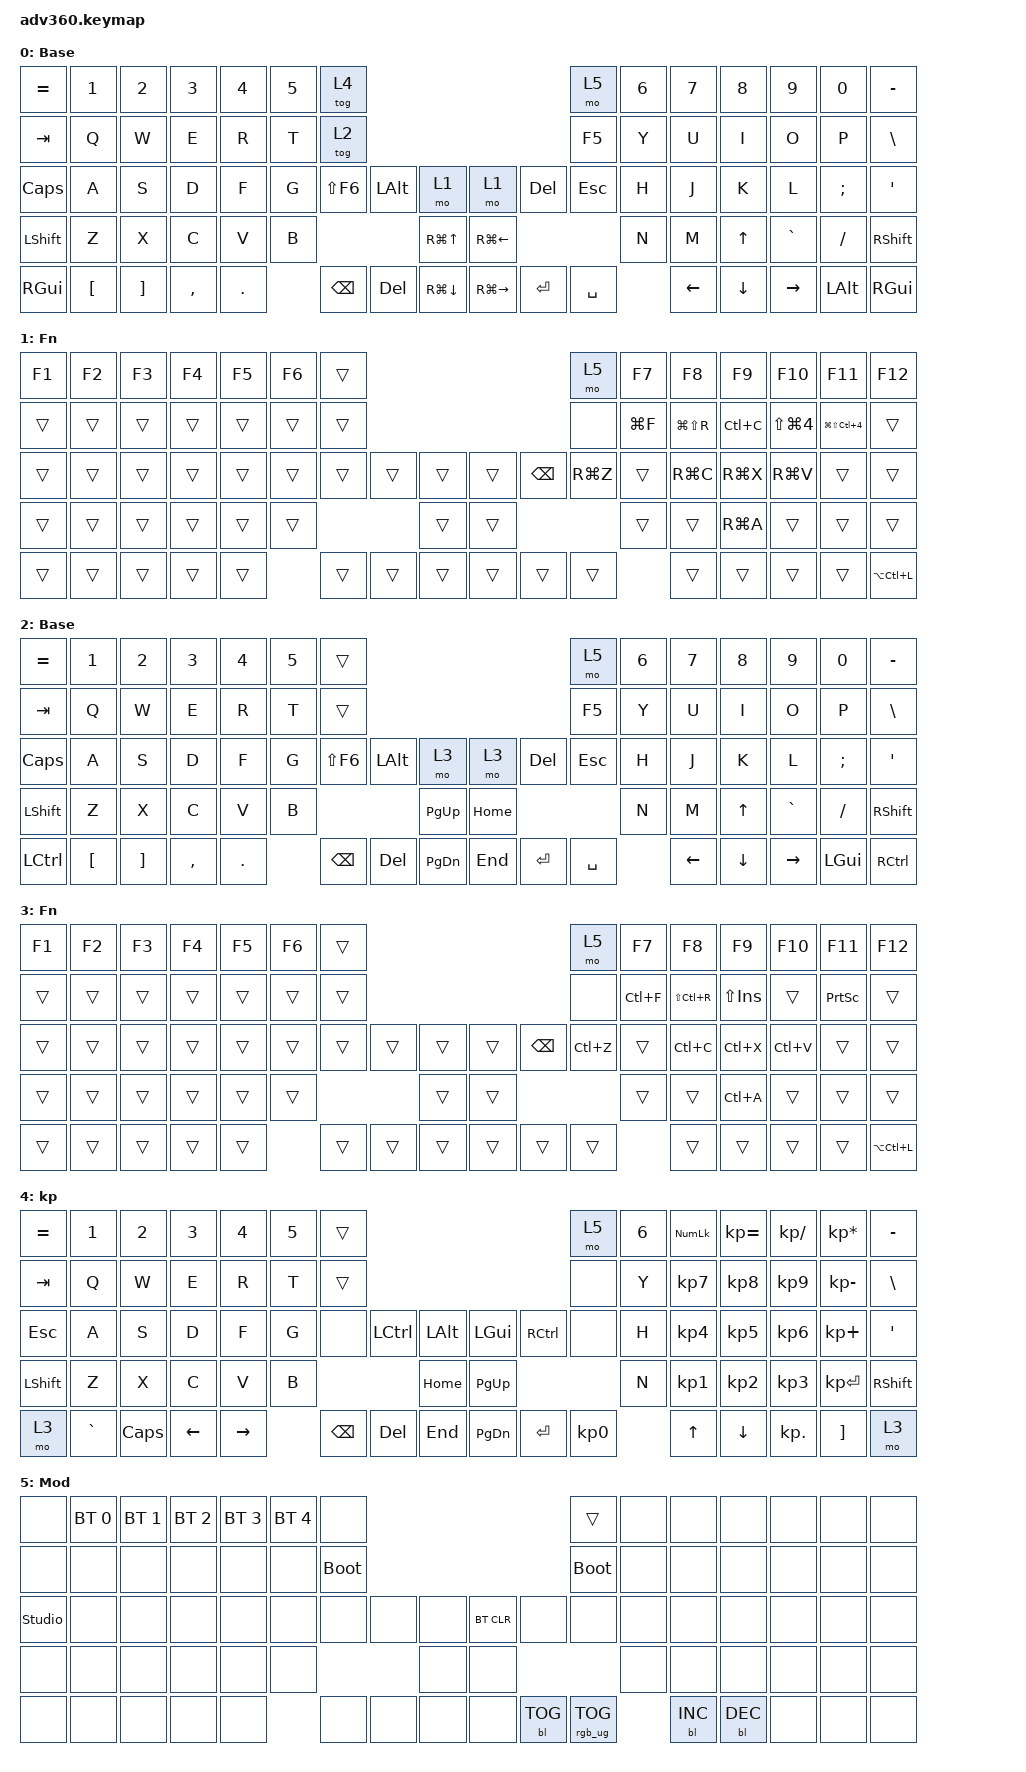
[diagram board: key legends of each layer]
#include <dt-bindings/zmk/stp.h>
#include <behaviors.dtsi>
#include <dt-bindings/zmk/backlight.h>
#include <dt-bindings/zmk/bt.h>
#include <dt-bindings/zmk/keys.h>
#include <dt-bindings/zmk/rgb.h>

/ {
    behaviors {
        #include "macros.dtsi"
      #include "version.dtsi"
    };

    keymap {
        compatible = "zmk,keymap";

        ios_layer {
            display-name = "Base";
            bindings = <
&kp EQUAL  &kp N1            &kp N2             &kp N3     &kp N4   &kp N5  &tog 4                                                                            &mo 5       &kp N6  &kp N7          &kp N8        &kp N9           &kp N0        &kp MINUS
&kp TAB    &kp Q             &kp W              &kp E      &kp R    &kp T   &tog 2                                                                            &kp F5      &kp Y   &kp U           &kp I         &kp O            &kp P         &kp BSLH
&kp CAPS   &kp A             &kp S              &kp D      &kp F    &kp G   &kp LS(F6)  &kp LEFT_ALT  &mo 1                   &mo 1                &kp DEL    &kp ESCAPE  &kp H   &kp J           &kp K         &kp L            &kp SEMI      &kp SQT
&kp LSHFT  &kp Z             &kp X              &kp C      &kp V    &kp B                             &kp RG(UP_ARROW)        &kp RG(LEFT_ARROW)                          &kp N   &kp M           &kp UP_ARROW  &kp GRAVE        &kp FSLH      &kp RSHFT
&kp RGUI   &kp LEFT_BRACKET  &kp RIGHT_BRACKET  &kp COMMA  &kp DOT          &kp BSPC    &kp DEL       &kp RG(DOWN_ARROW)      &kp RG(RIGHT_ARROW)  &kp ENTER  &kp SPACE           &kp LEFT_ARROW  &kp DOWN      &kp RIGHT_ARROW  &kp LEFT_ALT  &kp RGUI
            >;
        };

        ios_fn {
            display-name = "Fn";
            bindings = <
&kp F1  &kp F2  &kp F3  &kp F4  &kp F5  &kp F6  &trans                                        &mo 5      &kp F7     &kp F8         &kp F9     &kp F10               &kp F11                   &kp F12
&trans  &trans  &trans  &trans  &trans  &trans  &trans                                        &none      &kp LG(F)  &kp LG(LS(R))  &kp LC(C)  &kp LS(LG(NUMBER_4))  &kp LG(LS(LC(NUMBER_4)))  &trans
&trans  &trans  &trans  &trans  &trans  &trans  &trans  &trans  &trans      &trans  &kp BSPC  &kp RG(Z)  &trans     &kp RG(C)      &kp RG(X)  &kp RG(V)             &trans                    &trans
&trans  &trans  &trans  &trans  &trans  &trans                  &trans      &trans                       &trans     &trans         &kp RG(A)  &trans                &trans                    &trans
&trans  &trans  &trans  &trans  &trans          &trans  &trans  &trans      &trans  &trans    &trans                &trans         &trans     &trans                &trans                    &kp LA(LC(L))
            >;
        };

        linux_layer {
            display-name = "Base";
            bindings = <
&kp EQUAL         &kp N1            &kp N2             &kp N3     &kp N4   &kp N5  &trans                                                        &mo 5       &kp N6  &kp N7          &kp N8        &kp N9           &kp N0    &kp MINUS
&kp TAB           &kp Q             &kp W              &kp E      &kp R    &kp T   &trans                                                        &kp F5      &kp Y   &kp U           &kp I         &kp O            &kp P     &kp BSLH
&kp CAPS          &kp A             &kp S              &kp D      &kp F    &kp G   &kp LS(F6)  &kp LEFT_ALT  &mo 3          &mo 3     &kp DEL    &kp ESCAPE  &kp H   &kp J           &kp K         &kp L            &kp SEMI  &kp SQT
&kp LSHFT         &kp Z             &kp X              &kp C      &kp V    &kp B                             &kp PG_UP      &kp HOME                         &kp N   &kp M           &kp UP_ARROW  &kp GRAVE        &kp FSLH  &kp RSHFT
&kp LEFT_CONTROL  &kp LEFT_BRACKET  &kp RIGHT_BRACKET  &kp COMMA  &kp DOT          &kp BSPC    &kp DEL       &kp PG_DN      &kp END   &kp ENTER  &kp SPACE           &kp LEFT_ARROW  &kp DOWN      &kp RIGHT_ARROW  &kp LGUI  &kp RIGHT_CONTROL
            >;
        };

        linux_fn {
            display-name = "Fn";
            bindings = <
&kp F1  &kp F2  &kp F3  &kp F4  &kp F5  &kp F6  &trans                                        &mo 5      &kp F7     &kp F8         &kp F9          &kp F10    &kp F11          &kp F12
&trans  &trans  &trans  &trans  &trans  &trans  &trans                                        &none      &kp LC(F)  &kp LS(LC(R))  &kp LS(INSERT)  &trans     &kp PRINTSCREEN  &trans
&trans  &trans  &trans  &trans  &trans  &trans  &trans  &trans  &trans      &trans  &kp BSPC  &kp LC(Z)  &trans     &kp LC(C)      &kp LC(X)       &kp LC(V)  &trans           &trans
&trans  &trans  &trans  &trans  &trans  &trans                  &trans      &trans                       &trans     &trans         &kp LC(A)       &trans     &trans           &trans
&trans  &trans  &trans  &trans  &trans          &trans  &trans  &trans      &trans  &trans    &trans                &trans         &trans          &trans     &trans           &kp LA(LC(L))
            >;
        };

        keypad {
            display-name = "kp";
            bindings = <
&kp EQUAL  &kp N1     &kp N2    &kp N3    &kp N4     &kp N5  &trans                                                   &mo 5      &kp N6  &kp KP_NUM  &kp KP_EQUAL  &kp KP_DIVIDE  &kp KP_MULTIPLY  &kp MINUS
&kp TAB    &kp Q      &kp W     &kp E     &kp R      &kp T   &trans                                                   &none      &kp Y   &kp KP_N7   &kp KP_N8     &kp KP_N9      &kp KP_MINUS     &kp BSLH
&kp ESC    &kp A      &kp S     &kp D     &kp F      &kp G   &none     &kp LCTRL  &kp LALT      &kp LGUI   &kp RCTRL  &none      &kp H   &kp KP_N4   &kp KP_N5     &kp KP_N6      &kp KP_PLUS      &kp SQT
&kp LSHFT  &kp Z      &kp X     &kp C     &kp V      &kp B                        &kp HOME      &kp PG_UP                        &kp N   &kp KP_N1   &kp KP_N2     &kp KP_N3      &kp KP_ENTER     &kp RSHFT
&mo 3      &kp GRAVE  &kp CAPS  &kp LEFT  &kp RIGHT          &kp BSPC  &kp DEL    &kp END       &kp PG_DN  &kp ENTER  &kp KP_N0          &kp UP      &kp DOWN      &kp KP_DOT     &kp RBKT         &mo 3
            >;
        };

        mod {
            display-name = "Mod";
            bindings = <
&none           &bt BT_SEL 0  &bt BT_SEL 1  &bt BT_SEL 2  &bt BT_SEL 3  &bt BT_SEL 4  &none                                                  &trans           &none  &none       &none       &none  &none  &none
&none           &none         &none         &none         &none         &none         &bootloader                                            &bootloader      &none  &none       &none       &none  &none  &none
&studio_unlock  &none         &none         &none         &none         &none         &none        &none  &none      &bt BT_CLR  &none       &none            &none  &none       &none       &none  &none  &none
&none           &none         &none         &none         &none         &none                             &none      &none                                    &none  &none       &none       &none  &none  &none
&none           &none         &none         &none         &none                       &none        &none  &none      &none       &bl BL_TOG  &rgb_ug RGB_TOG         &bl BL_INC  &bl BL_DEC  &none  &none  &none
            >;
        };
    };
};
